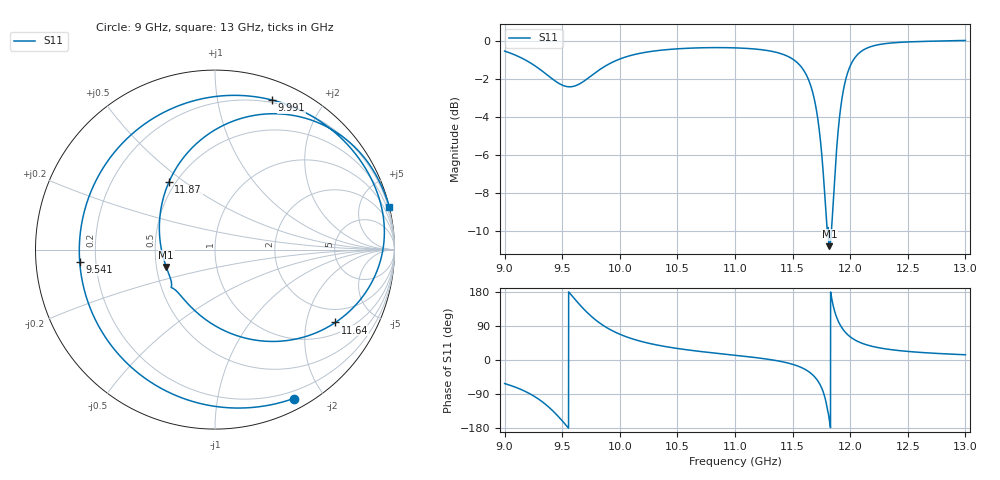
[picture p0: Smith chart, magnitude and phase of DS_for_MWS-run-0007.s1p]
! TOUCHSTONE file generated by CST DESIGN STUDIO
! Date and time: Tue Feb  4 15:38:52 2025
! Project name: C:\Work\MatlabApps\UnitCellOptimizationMatlab\CST\unitcell.cst
! Tree item: Tasks\Sweep1\SPara1\S-Parameters
! Header version: 2024
! Port assignment regex: !\s*Touchstone port\s*([0-9]+)\s*=\s*(CST MWS port|CST DES external port|CST DES block port)\s*(.+)\s* \(\"(.*)\"\)(\s*mode\s*([0-9]+))?.*
! Touchstone port assignment:
! Touchstone port 1 = CST DES external port 1 ("")
# GHz S MA R 50
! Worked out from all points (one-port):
!   4001 points, 9 GHz to 13 GHz, reference 50 ohm
!   lowest |S11| = -10.8 dB at 11.82 GHz (marker M1), VSWR 1.81, Z = 28.2 - j5.91 ohm
!   |S11| at or under -10 dB: 11.80213 GHz to 11.80516 GHz (3.025 MHz wide, 0.0256 % of centre); 11.80961 GHz to 11.83689 GHz (27.28 MHz wide, 0.231 % of centre)
!   S11 on the Smith chart (normalised r, x): 9 GHz: 0.12, -1.65; 9.541 GHz: 0.14, -0.04; 9.991 GHz: 0.18, +1.44; 11.64 GHz: 1.41, -2.97; 11.87 GHz: 0.46, +0.44; 13 GHz: -0.01, +8.24
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9  0.9381 -62.2
9.147  0.8998 -78.4
9.297  0.8443 -103.7
9.399  0.7994 -128.6
9.5  0.7637 -160.4
9.541  0.757 -174.9
9.634  0.765 152.0
9.753  0.8085 115.1
9.857  0.8508 91.0
9.991  0.892 69.2
10  0.8942 68.0
10.213  0.9301 46.9
10.5  0.951 30.4
11  0.9565 12.5
11.302  0.9389 1.3
11.5  0.8941 -11.4
11.642  0.7841 -31.2
11.696  0.6844 -46.1
11.748  0.5223 -70.9
11.782  0.3825 -100.6
11.82  0.2886 -160.5
11.869  0.4552 124.4
11.926  0.696 85.9
12  0.8573 61.2
12.075  0.9256 47.7
12.172  0.9622 37.5
12.5  0.9914 22.6
13  1 13.8
